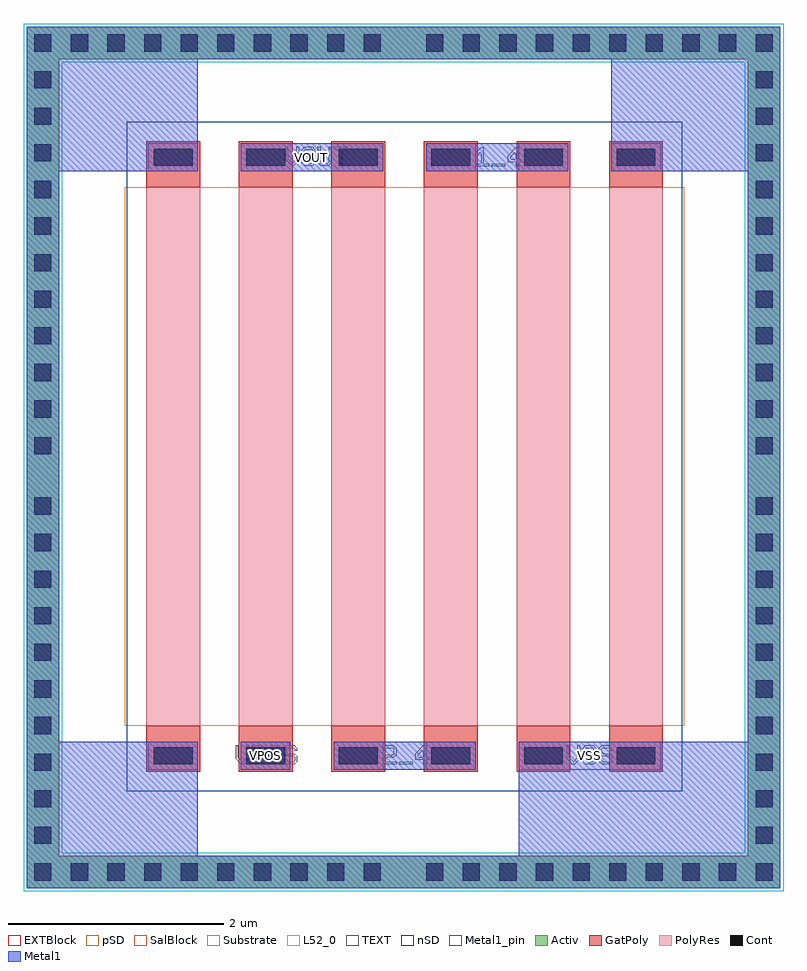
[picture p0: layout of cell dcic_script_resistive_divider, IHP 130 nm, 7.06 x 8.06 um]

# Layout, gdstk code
import gdstk
lib = gdstk.Library(unit=1e-6, precision=5e-09)
def R(c, l, rs):  # rectangles x0, y0, x1, y1
    for r in rs: c.add(gdstk.rectangle(r[:2], r[2:], *l))
def A(c, l, x, y, w, h, nx, ny, dx, dy):  # array of equal rectangles
    R(c, l, [(x+i*dx, y+j*dy, x+i*dx+w, y+j*dy+h) for i in range(nx) for j in range(ny)])
def P(c, l, *ps):  # polygons
    for p in ps: c.add(gdstk.Polygon(p, *l))
Activ = (1, 0)
GatPoly = (5, 0)
Cont = (6, 0)
nSD = (7, 0)
Metal1 = (8, 0)
Metal1_pin = (8, 2)
pSD = (14, 0)
SalBlock = (28, 0)
Substrate = (40, 0)
L52_0 = (52, 0)
TEXT = (63, 0)
EXTBlock = (111, 0)
PolyRes = (128, 0)

rhigh_1 = lib.new_cell('rhigh$1')
R(rhigh_1, GatPoly, [(0,-0.43,0.5,0), (0,5,0.5,5.43)])
R(rhigh_1, Cont, [(0.07,-0.36,0.43,-0.2), (0.07,5.2,0.43,5.36)])
R(rhigh_1, nSD, [(-0.18,-0.61,0.68,0.18), (-0.18,0,0.68,5), (-0.18,0,0.68,5), (-0.18,4.82,0.68,5.61)])
R(rhigh_1, Metal1, [(0.02,-0.41,0.48,-0.15), (0.02,5.15,0.48,5.41)])
R(rhigh_1, Metal1_pin, [(0.02,-0.41,0.48,-0.15), (0.02,5.15,0.48,5.41)])
R(rhigh_1, pSD, [(-0.18,-0.61,0.68,0.18), (-0.18,0,0.68,5), (-0.18,0,0.68,5), (-0.18,4.82,0.68,5.61)])
R(rhigh_1, SalBlock, [(-0.2,0,0.7,5)])
R(rhigh_1, L52_0, [(0,0,0.5,5)])
R(rhigh_1, EXTBlock, [(-0.18,-0.61,0.68,0.18), (-0.2,0,0.7,5), (-0.18,4.82,0.68,5.61)])
R(rhigh_1, PolyRes, [(0,0,0.5,5)])
rhigh_1.add(gdstk.Label('rhigh r=15102.609', (0.25,2.5), layer=63, texttype=0))
rhigh_1.add(gdstk.Label('rhigh', (0.25,2.5), layer=52, texttype=0))

guard_ring_1 = lib.new_cell('guard_ring$1')
R(guard_ring_1, Activ, [(-3.5,-3.7,-3.2,3.7), (3.2,-3.7,3.5,3.7), (-3.5,3.7,3.5,4)])
P(guard_ring_1, Activ, [(-3.5,-4),(-3.5,3.7),(-3.2,3.7),(-3.2,-3.7),(3.2,-3.7),(3.2,3.7),(-3.5,3.7),(-3.5,4),(3.5,4),(3.5,-4)])
A(guard_ring_1, Cont, -3.43, -3.93, 0.16, 0.16, 10, 2, 0.34, 7.7)
A(guard_ring_1, Cont, 0.21, -3.93, 0.16, 0.16, 10, 2, 0.34, 7.7)
A(guard_ring_1, Cont, -3.43, -3.59, 0.16, 0.16, 1, 10, 0, 0.34)
A(guard_ring_1, Cont, 3.27, -3.59, 0.16, 0.16, 1, 10, 0, 0.34)
A(guard_ring_1, Cont, -3.43, 0.03, 0.16, 0.16, 1, 11, 0, 0.34)
A(guard_ring_1, Cont, 3.27, 0.03, 0.16, 0.16, 1, 11, 0, 0.34)
R(guard_ring_1, Metal1, [(-3.5,-4,3.5,-3.7), (-3.5,-3.7,-3.2,3.7), (3.2,-3.7,3.5,3.7), (-3.5,3.7,3.5,4)])
R(guard_ring_1, pSD, [(-3.53,-3.67,-3.17,3.67), (3.17,-3.67,3.53,3.67), (-3.53,3.67,3.53,4.03)])
P(guard_ring_1, pSD, [(-3.53,-4.03),(-3.53,3.67),(-3.17,3.67),(-3.17,-3.67),(3.17,-3.67),(3.17,3.67),(-3.53,3.67),(-3.53,4.03),(3.53,4.03),(3.53,-4.03)])
R(guard_ring_1, Substrate, [(-3.53,-3.67,-3.17,3.67), (3.17,-3.67,3.53,3.67), (-3.53,3.67,3.53,4.03)])
P(guard_ring_1, Substrate, [(-3.53,-4.03),(-3.53,3.67),(-3.17,3.67),(-3.17,-3.67),(3.17,-3.67),(3.17,3.67),(-3.53,3.67),(-3.53,4.03),(3.53,4.03),(3.53,-4.03)])
guard_ring_1.add(gdstk.Label('sub!', (0,-3.85), layer=63, texttype=0))

text_5 = lib.new_cell('TEXT$5')
P(text_5, TEXT, [(0.05,0),(0,0.05),(0,0.175),(0.025,0.175),(0.025,0.065),(0.065,0.025),(0.1,0.065),(0.1,0.175),(0.125,0.175),(0.125,0.05),(0.075,0)],
  [(0.15,0),(0.15,0.175),(0.25,0.175),(0.275,0.15),(0.275,0.1),(0.25,0.075),(0.175,0.075),(0.175,0.1),(0.24,0.1),(0.25,0.115),(0.25,0.14),(0.24,0.15),(0.175,0.15),(0.175,0)],
  [(0.325,0),(0.3,0.025),(0.3,0.15),(0.325,0.175),(0.4,0.175),(0.425,0.15),(0.425,0.09),(0.4,0.09),(0.4,0.14),(0.39,0.15),(0.34,0.15),(0.325,0.14),(0.325,0.04),(0.34,0.025),(0.39,0.025),(0.4,0.04),(0.4,0.09),(0.425,0.09),(0.425,0.025),(0.4,0)],
  [(0.475,0),(0.45,0.025),(0.45,0.05),(0.475,0.05),(0.475,0.04),(0.49,0.025),(0.54,0.025),(0.55,0.04),(0.55,0.065),(0.54,0.075),(0.475,0.075),(0.45,0.1),(0.45,0.15),(0.475,0.175),(0.55,0.175),(0.575,0.15),(0.575,0.125),(0.55,0.125),(0.55,0.14),(0.54,0.15),(0.49,0.15),(0.475,0.14),(0.475,0.115),(0.49,0.1),(0.55,0.1),(0.575,0.075),(0.575,0.025),(0.55,0)])

text = lib.new_cell('TEXT')
P(text, TEXT, [(0.05,0),(0,0.05),(0,0.175),(0.025,0.175),(0.025,0.065),(0.065,0.025),(0.1,0.065),(0.1,0.175),(0.125,0.175),(0.125,0.05),(0.075,0)],
  [(0.175,0),(0.15,0.025),(0.15,0.15),(0.175,0.175),(0.25,0.175),(0.275,0.15),(0.275,0.09),(0.25,0.09),(0.25,0.14),(0.24,0.15),(0.19,0.15),(0.175,0.14),(0.175,0.04),(0.19,0.025),(0.24,0.025),(0.25,0.04),(0.25,0.09),(0.275,0.09),(0.275,0.025),(0.25,0)],
  [(0.325,0),(0.3,0.025),(0.3,0.175),(0.325,0.175),(0.325,0.04),(0.34,0.025),(0.39,0.025),(0.4,0.04),(0.4,0.175),(0.425,0.175),(0.425,0.025),(0.4,0)],
  [(0.5,0),(0.5,0.15),(0.45,0.15),(0.45,0.175),(0.575,0.175),(0.575,0.15),(0.525,0.15),(0.525,0)])

text_2 = lib.new_cell('TEXT$2')
R(text_2, TEXT, [(0.15,0,0.275,0.025)])
P(text_2, TEXT, [(0,0),(0,0.065),(0.025,0.09),(0.09,0.09),(0.1,0.1),(0.1,0.14),(0.09,0.15),(0.04,0.15),(0.025,0.14),(0.025,0.125),(0,0.125),(0,0.15),(0.025,0.175),(0.1,0.175),(0.125,0.15),(0.125,0.09),(0.1,0.065),(0.04,0.065),(0.025,0.05),(0.025,0.025),(0.125,0.025),(0.125,0)],
  [(0.375,0),(0.375,0.04),(0.3,0.04),(0.3,0.065),(0.375,0.065),(0.375,0.125),(0.365,0.125),(0.325,0.09),(0.325,0.065),(0.3,0.065),(0.3,0.1),(0.375,0.175),(0.4,0.175),(0.4,0.065),(0.425,0.065),(0.425,0.04),(0.4,0.04),(0.4,0)])

text_3 = lib.new_cell('TEXT$3')
R(text_3, TEXT, [(0.15,0,0.275,0.025)])
P(text_3, TEXT, [(0,0),(0,0.025),(0.05,0.025),(0.05,0.125),(0.04,0.125),(0.015,0.1),(0,0.1),(0,0.125),(0.05,0.175),(0.075,0.175),(0.075,0.025),(0.125,0.025),(0.125,0)],
  [(0.375,0),(0.375,0.04),(0.3,0.04),(0.3,0.065),(0.375,0.065),(0.375,0.125),(0.365,0.125),(0.325,0.09),(0.325,0.065),(0.3,0.065),(0.3,0.1),(0.375,0.175),(0.4,0.175),(0.4,0.065),(0.425,0.065),(0.425,0.04),(0.4,0.04),(0.4,0)])

text_4 = lib.new_cell('TEXT$4')
P(text_4, TEXT, [(0.05,0),(0,0.05),(0,0.175),(0.025,0.175),(0.025,0.065),(0.065,0.025),(0.1,0.065),(0.1,0.175),(0.125,0.175),(0.125,0.05),(0.075,0)],
  [(0.175,0),(0.15,0.025),(0.15,0.05),(0.175,0.05),(0.175,0.04),(0.19,0.025),(0.24,0.025),(0.25,0.04),(0.25,0.065),(0.24,0.075),(0.175,0.075),(0.15,0.1),(0.15,0.15),(0.175,0.175),(0.25,0.175),(0.275,0.15),(0.275,0.125),(0.25,0.125),(0.25,0.14),(0.24,0.15),(0.19,0.15),(0.175,0.14),(0.175,0.115),(0.19,0.1),(0.25,0.1),(0.275,0.075),(0.275,0.025),(0.25,0)],
  [(0.325,0),(0.3,0.025),(0.3,0.05),(0.325,0.05),(0.325,0.04),(0.34,0.025),(0.39,0.025),(0.4,0.04),(0.4,0.065),(0.39,0.075),(0.325,0.075),(0.3,0.1),(0.3,0.15),(0.325,0.175),(0.4,0.175),(0.425,0.15),(0.425,0.125),(0.4,0.125),(0.4,0.14),(0.39,0.15),(0.34,0.15),(0.325,0.14),(0.325,0.115),(0.34,0.1),(0.4,0.1),(0.425,0.075),(0.425,0.025),(0.4,0)])

dcic_script_resistive_di = lib.new_cell('dcic_script_resistive_divider')
R(dcic_script_resistive_di, Metal1, [(-8.715,-1.265,-7.425,-0.205), (-4.445,-1.265,-2.315,-0.205), (-6.165,-0.465,-4.845,-0.205), (-8.715,5.095,-7.425,6.135), (-7.025,5.095,-5.705,5.355), (-5.305,5.095,-3.985,5.355), (-3.585,5.095,-2.315,6.135)])
R(dcic_script_resistive_di, Metal1_pin, [(-7.025,-0.465,-6.565,-0.205), (-4.015,-0.465,-3.555,-0.205), (-6.595,5.095,-6.135,5.355)])
dcic_script_resistive_di.add(gdstk.Reference(rhigh_1, (-4.465,-0.055)))
dcic_script_resistive_di.add(gdstk.Reference(rhigh_1, (-7.045,-0.055)))
dcic_script_resistive_di.add(gdstk.Reference(rhigh_1, (-5.325,-0.055)))
dcic_script_resistive_di.add(gdstk.Reference(rhigh_1, (-6.185,-0.055)))
dcic_script_resistive_di.add(gdstk.Reference(rhigh_1, (-7.905,-0.055)))
dcic_script_resistive_di.add(gdstk.Reference(rhigh_1, (-3.605,-0.055)))
dcic_script_resistive_di.add(gdstk.Reference(guard_ring_1, (-5.515,2.435)))
dcic_script_resistive_di.add(gdstk.Reference(text_5, (-7.075,-0.415)))
dcic_script_resistive_di.add(gdstk.Reference(text, (-6.61,5.145)))
dcic_script_resistive_di.add(gdstk.Reference(text_2, (-5.705,-0.415)))
dcic_script_resistive_di.add(gdstk.Reference(text_3, (-4.845,5.14)))
dcic_script_resistive_di.add(gdstk.Reference(text_4, (-4,-0.415)))
dcic_script_resistive_di.add(gdstk.Label('VPOS', (-6.795,-0.335), layer=8, texttype=25))
dcic_script_resistive_di.add(gdstk.Label('VOUT', (-6.365,5.225), layer=8, texttype=25))
dcic_script_resistive_di.add(gdstk.Label('VSS', (-3.785,-0.335), layer=8, texttype=25))

lib.write_gds('dcic_script_resistive_divider.gds')
